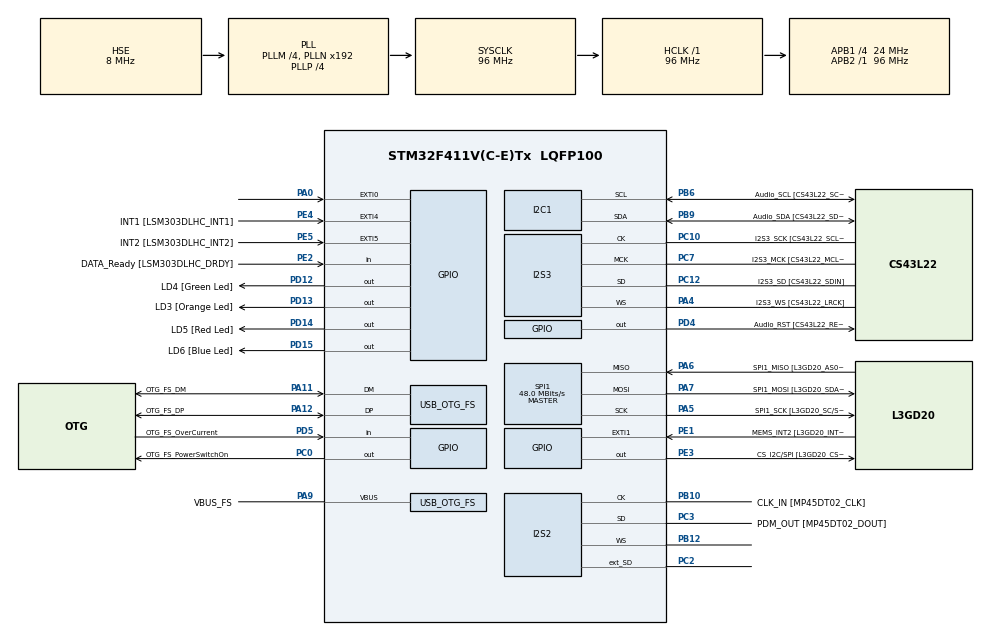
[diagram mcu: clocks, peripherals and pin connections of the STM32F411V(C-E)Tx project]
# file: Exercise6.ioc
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FREERTOS.Tasks01=RedLEDTask,1,128,StartRedLEDask,Default,NULL,Dynamic,NULL,NULL;GreenLED,0,128,StartGreenLEDTask,Default,NULL,Dynamic,NULL,NULL
I2S2.AudioFreq=I2S_AUDIOFREQ_96K
I2S2.ErrorAudioFreq=0.15 %
I2S2.FullDuplexMode=I2S_FULLDUPLEXMODE_ENABLE
I2S2.Instance=SPI$Index
I2S2.RealAudioFreq=96.153 KHz
I2S2.VirtualMode=I2S_MODE_MASTER
I2S3.AudioFreq=I2S_AUDIOFREQ_96K
I2S3.ErrorAudioFreq=-6.99 %
I2S3.FullDuplexMode=I2S_FULLDUPLEXMODE_DISABLE
I2S3.Instance=SPI$Index
I2S3.RealAudioFreq=89.285 KHz
I2S3.VirtualMode=I2S_MODE_MASTER
Mcu.Family=STM32F4
Mcu.Name=STM32F411V(C-E)Tx
Mcu.Package=LQFP100
NVIC.OTG_FS_IRQn=true\:5\:0\:false\:false\:true\:true\:true\:true
NVIC.PriorityGroup=NVIC_PRIORITYGROUP_4
NVIC.TIM1_UP_TIM10_IRQn=true\:0\:0\:false\:false\:true\:false\:false\:true
NVIC.TimeBase=TIM1_UP_TIM10_IRQn
NVIC.TimeBaseIP=TIM1
PA0-WKUP.GPIO_ModeDefaultEXTI=GPIO_MODE_EVT_RISING
PA0-WKUP.Signal=GPXTI0
PA10.GPIO_Label=OTG_FS_ID
PA10.Signal=USB_OTG_FS_ID
PA11.GPIO_Label=OTG_FS_DM
PA11.Mode=Host_Only
PA11.Signal=USB_OTG_FS_DM
PA12.GPIO_Label=OTG_FS_DP
PA12.Mode=Host_Only
PA12.Signal=USB_OTG_FS_DP
PA13.GPIO_Label=SWDIO
PA13.Mode=Serial_Wire
PA13.Signal=SYS_JTMS-SWDIO
PA14.GPIO_Label=SWCLK
PA14.Mode=Serial_Wire
PA14.Signal=SYS_JTCK-SWCLK
PA4.GPIO_Label=I2S3_WS [CS43L22_LRCK]
PA4.GPIO_Mode=GPIO_MODE_AF_PP
PA4.GPIO_PuPd=GPIO_NOPULL
PA4.GPIO_Speed=GPIO_SPEED_FREQ_LOW
PA4.Mode=Half_Duplex_Master
PA4.Signal=I2S3_WS
PA5.GPIO_Label=SPI1_SCK [L3GD20_SC/SPC]
PA5.Mode=Full_Duplex_Master
PA5.Signal=SPI1_SCK
PA6.GPIO_Label=SPI1_MISO [L3GD20_AS0/SDO]
PA6.Mode=Full_Duplex_Master
PA6.Signal=SPI1_MISO
PA7.GPIO_Label=SPI1_MOSI [L3GD20_SDA/SDI/SDO]
PA7.Mode=Full_Duplex_Master
PA7.Signal=SPI1_MOSI
PA9.GPIO_Label=VBUS_FS
PA9.Mode=Activate_VBUS
PA9.Signal=USB_OTG_FS_VBUS
PB10.GPIO_Label=CLK_IN [MP45DT02_CLK]
PB10.Mode=Full_Duplex_Master
PB10.Signal=I2S2_CK
PB12.Mode=Full_Duplex_Master
PB12.Signal=I2S2_WS
PB3.GPIO_Label=SWO
PB3.Signal=SYS_JTDO-SWO
PB6.GPIO_Label=Audio_SCL [CS43L22_SCL]
PB6.GPIO_Mode=GPIO_MODE_AF_OD
PB6.GPIO_PuPd=GPIO_NOPULL
PB6.GPIO_Speed=GPIO_SPEED_FREQ_LOW
PB6.Mode=I2C
PB6.Signal=I2C1_SCL
PB9.GPIO_Label=Audio_SDA [CS43L22_SDA]
PB9.GPIO_Mode=GPIO_MODE_AF_OD
PB9.GPIO_PuPd=GPIO_NOPULL
PB9.GPIO_Speed=GPIO_SPEED_FREQ_LOW
PB9.Mode=I2C
PB9.Signal=I2C1_SDA
PC0.GPIO_Label=OTG_FS_PowerSwitchOn
PC0.PinState=GPIO_PIN_SET
PC0.Signal=GPIO_Output
PC10.GPIO_Label=I2S3_SCK [CS43L22_SCLK]
PC10.GPIO_Mode=GPIO_MODE_AF_PP
PC10.GPIO_PuPd=GPIO_NOPULL
PC10.GPIO_Speed=GPIO_SPEED_FREQ_LOW
PC10.Mode=Half_Duplex_Master
PC10.Signal=I2S3_CK
PC12.GPIO_Label=I2S3_SD [CS43L22_SDIN]
PC12.GPIO_Mode=GPIO_MODE_AF_PP
PC12.GPIO_PuPd=GPIO_NOPULL
PC12.GPIO_Speed=GPIO_SPEED_FREQ_LOW
PC12.Mode=Half_Duplex_Master
PC12.Signal=I2S3_SD
PC14-OSC32_IN.GPIO_Label=PC14-OSC32_IN
PC14-OSC32_IN.Mode=LSE-External-Oscillator
PC14-OSC32_IN.Signal=RCC_OSC32_IN
PC15-OSC32_OUT.GPIO_Label=PC15-OSC32_OUT
PC15-OSC32_OUT.Mode=LSE-External-Oscillator
PC15-OSC32_OUT.Signal=RCC_OSC32_OUT
PC2.Mode=Full_Duplex_Master
PC2.Signal=I2S2_ext_SD
PC3.GPIO_Label=PDM_OUT [MP45DT02_DOUT]
PC3.Mode=Full_Duplex_Master
PC3.Signal=I2S2_SD
PC7.GPIO_Label=I2S3_MCK [CS43L22_MCLK]
PC7.GPIO_Mode=GPIO_MODE_AF_PP
PC7.GPIO_PuPd=GPIO_NOPULL
PC7.GPIO_Speed=GPIO_SPEED_FREQ_LOW
PC7.Mode=Master_Clock_Activated
PC7.Signal=I2S3_MCK
PD12.GPIO_Label=LD4 [Green Led]
PD12.GPIO_PuPd=GPIO_NOPULL
PD12.GPIO_Speed=GPIO_SPEED_FREQ_LOW
PD12.Signal=GPIO_Output
PD13.GPIO_Label=LD3 [Orange Led]
PD13.GPIO_PuPd=GPIO_NOPULL
PD13.GPIO_Speed=GPIO_SPEED_FREQ_LOW
PD13.Signal=GPIO_Output
PD14.GPIO_Label=LD5 [Red Led]
PD14.GPIO_PuPd=GPIO_NOPULL
PD14.GPIO_Speed=GPIO_SPEED_FREQ_LOW
PD14.Signal=GPIO_Output
PD15.GPIO_Label=LD6 [Blue Led]
PD15.GPIO_PuPd=GPIO_NOPULL
PD15.GPIO_Speed=GPIO_SPEED_FREQ_LOW
PD15.Signal=GPIO_Output
PD4.GPIO_Label=Audio_RST [CS43L22_RESET]
PD4.Signal=GPIO_Output
PD5.GPIO_Label=OTG_FS_OverCurrent
PD5.Signal=GPIO_Input
PE1.GPIO_Label=MEMS_INT2 [L3GD20_INT2]
PE1.GPIO_ModeDefaultEXTI=GPIO_MODE_EVT_RISING
PE1.Signal=GPXTI1
PE2.GPIO_Label=DATA_Ready [LSM303DLHC_DRDY]
PE2.Signal=GPIO_Input
PE3.GPIO_Label=CS_I2C/SPI [L3GD20_CS_I2C/SPI]
PE3.Signal=GPIO_Output
PE4.GPIO_Label=INT1 [LSM303DLHC_INT1]
PE4.GPIO_ModeDefaultEXTI=GPIO_MODE_EVT_RISING
PE4.Signal=GPXTI4
PE5.GPIO_Label=INT2 [LSM303DLHC_INT2]
PE5.GPIO_ModeDefaultEXTI=GPIO_MODE_EVT_RISING
PE5.Signal=GPXTI5
PH0\ -\ OSC_IN.GPIO_Label=PH0-OSC_IN
PH0\ -\ OSC_IN.Mode=HSE-External-Oscillator
PH0\ -\ OSC_IN.Signal=RCC_OSC_IN
PH1\ -\ OSC_OUT.GPIO_Label=PH1-OSC_OUT
PH1\ -\ OSC_OUT.Mode=HSE-External-Oscillator
PH1\ -\ OSC_OUT.Signal=RCC_OSC_OUT
ProjectManager.HeapSize=0x200
ProjectManager.StackSize=0x400
ProjectManager.TargetToolchain=STM32CubeIDE
RCC.48MHZClocksFreq_Value=48000000
RCC.AHBFreq_Value=96000000
RCC.APB1CLKDivider=RCC_HCLK_DIV4
RCC.APB1Freq_Value=24000000
RCC.APB1TimFreq_Value=48000000
RCC.APB2Freq_Value=96000000
RCC.APB2TimFreq_Value=96000000
RCC.CortexFreq_Value=96000000
RCC.HCLKFreq_Value=96000000
RCC.HSE_VALUE=8000000
RCC.HSI_VALUE=16000000
RCC.PLLI2SM=5
RCC.PLLI2SN=200
RCC.PLLM=4
RCC.PLLP=RCC_PLLP_DIV4
RCC.PLLQ=8
RCC.SYSCLKFreq_VALUE=96000000
RCC.SYSCLKSource=RCC_SYSCLKSOURCE_PLLCLK
RCC.VCOOutputFreq_Value=384000000
SPI1.BaudRatePrescaler=SPI_BAUDRATEPRESCALER_2
SPI1.CalculateBaudRate=48.0 MBits/s
SPI1.Direction=SPI_DIRECTION_2LINES
SPI1.Mode=SPI_MODE_MASTER
SPI1.VirtualType=VM_MASTER
USB_OTG_FS.VirtualMode=Host_Only
USB_OTG_FS.phy_itface=HCD_PHY_EMBEDDED
VP_FREERTOS_VS_CMSIS_V1.Mode=CMSIS_V1
VP_SYS_VS_tim1.Mode=TIM1
board=STM32F411E-DISCO

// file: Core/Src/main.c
/* USER CODE BEGIN Header */
/**
  ******************************************************************************
  * @file           : main.c
  * @brief          : Main program body
  ******************************************************************************
  * @attention
  *
  * <h2><center>&copy; Copyright (c) 2024 STMicroelectronics.
  * All rights reserved.</center></h2>
  *
  * This software component is licensed by ST under Ultimate Liberty license
  * SLA0044, the "License"; You may not use this file except in compliance with
  * the License. You may obtain a copy of the License at:
  *                             www.st.com/SLA0044
  *
  ******************************************************************************
  */
/* USER CODE END Header */

#include "main.h"
#include "cmsis_os.h"

I2C_HandleTypeDef hi2c1;

I2S_HandleTypeDef hi2s2;
I2S_HandleTypeDef hi2s3;

SPI_HandleTypeDef hspi1;

HCD_HandleTypeDef hhcd_USB_OTG_FS;

osThreadId RedLEDTaskHandle;
osThreadId GreenLEDHandle;

void SystemClock_Config(void);
static void MX_GPIO_Init(void);
static void MX_I2C1_Init(void);
static void MX_I2S2_Init(void);
static void MX_I2S3_Init(void);
static void MX_SPI1_Init(void);
static void MX_USB_OTG_FS_HCD_Init(void);
void StartRedLEDask(void const * argument);
void StartGreenLEDTask(void const * argument);

int main(void)
{

  /* MCU Configuration--------------------------------------------------------*/

  /* Reset of all peripherals, Initializes the Flash interface and the Systick. */
  HAL_Init();

  /* Configure the system clock */
  SystemClock_Config();

  /* Initialize all configured peripherals */
  MX_GPIO_Init();
  MX_I2C1_Init();
  MX_I2S2_Init();
  MX_I2S3_Init();
  MX_SPI1_Init();
  MX_USB_OTG_FS_HCD_Init();

  /* Create the thread(s) */
  /* definition and creation of RedLEDTask */
  osThreadDef(RedLEDTask, StartRedLEDask, osPriorityAboveNormal, 0, 128);
  RedLEDTaskHandle = osThreadCreate(osThread(RedLEDTask), NULL);

  /* definition and creation of GreenLED */
  osThreadDef(GreenLED, StartGreenLEDTask, osPriorityNormal, 0, 128);
  GreenLEDHandle = osThreadCreate(osThread(GreenLED), NULL);

  /* Start scheduler */
  osKernelStart();

  /* We should never get here as control is now taken by the scheduler */

  /* Infinite loop */
  while (1)
  {

  }
}

void SystemClock_Config(void)
{
  RCC_OscInitTypeDef RCC_OscInitStruct = {0};
  RCC_ClkInitTypeDef RCC_ClkInitStruct = {0};
  RCC_PeriphCLKInitTypeDef PeriphClkInitStruct = {0};

  /** Configure the main internal regulator output voltage
  */
  __HAL_RCC_PWR_CLK_ENABLE();
  __HAL_PWR_VOLTAGESCALING_CONFIG(PWR_REGULATOR_VOLTAGE_SCALE1);
  /** Initializes the CPU, AHB and APB busses clocks
  */
  RCC_OscInitStruct.OscillatorType = RCC_OSCILLATORTYPE_HSE;
  RCC_OscInitStruct.HSEState = RCC_HSE_ON;
  RCC_OscInitStruct.PLL.PLLState = RCC_PLL_ON;
  RCC_OscInitStruct.PLL.PLLSource = RCC_PLLSOURCE_HSE;
  RCC_OscInitStruct.PLL.PLLM = 4;
  RCC_OscInitStruct.PLL.PLLN = 192;
  RCC_OscInitStruct.PLL.PLLP = RCC_PLLP_DIV4;
  RCC_OscInitStruct.PLL.PLLQ = 8;
  if (HAL_RCC_OscConfig(&RCC_OscInitStruct) != HAL_OK)
  {
    Error_Handler();
  }
  /** Initializes the CPU, AHB and APB busses clocks
  */
  RCC_ClkInitStruct.ClockType = RCC_CLOCKTYPE_HCLK|RCC_CLOCKTYPE_SYSCLK
                              |RCC_CLOCKTYPE_PCLK1|RCC_CLOCKTYPE_PCLK2;
  RCC_ClkInitStruct.SYSCLKSource = RCC_SYSCLKSOURCE_PLLCLK;
  RCC_ClkInitStruct.AHBCLKDivider = RCC_SYSCLK_DIV1;
  RCC_ClkInitStruct.APB1CLKDivider = RCC_HCLK_DIV4;
  RCC_ClkInitStruct.APB2CLKDivider = RCC_HCLK_DIV1;

  if (HAL_RCC_ClockConfig(&RCC_ClkInitStruct, FLASH_LATENCY_3) != HAL_OK)
  {
    Error_Handler();
  }
  PeriphClkInitStruct.PeriphClockSelection = RCC_PERIPHCLK_I2S;
  PeriphClkInitStruct.PLLI2S.PLLI2SN = 200;
  PeriphClkInitStruct.PLLI2S.PLLI2SM = 5;
  PeriphClkInitStruct.PLLI2S.PLLI2SR = 2;
  if (HAL_RCCEx_PeriphCLKConfig(&PeriphClkInitStruct) != HAL_OK)
  {
    Error_Handler();
  }
}

static void MX_I2C1_Init(void)
{

  hi2c1.Instance = I2C1;
  hi2c1.Init.ClockSpeed = 100000;
  hi2c1.Init.DutyCycle = I2C_DUTYCYCLE_2;
  hi2c1.Init.OwnAddress1 = 0;
  hi2c1.Init.AddressingMode = I2C_ADDRESSINGMODE_7BIT;
  hi2c1.Init.DualAddressMode = I2C_DUALADDRESS_DISABLE;
  hi2c1.Init.OwnAddress2 = 0;
  hi2c1.Init.GeneralCallMode = I2C_GENERALCALL_DISABLE;
  hi2c1.Init.NoStretchMode = I2C_NOSTRETCH_DISABLE;
  if (HAL_I2C_Init(&hi2c1) != HAL_OK)
  {
    Error_Handler();
  }

}

static void MX_I2S2_Init(void)
{

  hi2s2.Instance = SPI2;
  hi2s2.Init.Mode = I2S_MODE_MASTER_TX;
  hi2s2.Init.Standard = I2S_STANDARD_PHILIPS;
  hi2s2.Init.DataFormat = I2S_DATAFORMAT_16B;
  hi2s2.Init.MCLKOutput = I2S_MCLKOUTPUT_DISABLE;
  hi2s2.Init.AudioFreq = I2S_AUDIOFREQ_96K;
  hi2s2.Init.CPOL = I2S_CPOL_LOW;
  hi2s2.Init.ClockSource = I2S_CLOCK_PLL;
  hi2s2.Init.FullDuplexMode = I2S_FULLDUPLEXMODE_ENABLE;
  if (HAL_I2S_Init(&hi2s2) != HAL_OK)
  {
    Error_Handler();
  }

}

static void MX_I2S3_Init(void)
{

  hi2s3.Instance = SPI3;
  hi2s3.Init.Mode = I2S_MODE_MASTER_TX;
  hi2s3.Init.Standard = I2S_STANDARD_PHILIPS;
  hi2s3.Init.DataFormat = I2S_DATAFORMAT_16B;
  hi2s3.Init.MCLKOutput = I2S_MCLKOUTPUT_ENABLE;
  hi2s3.Init.AudioFreq = I2S_AUDIOFREQ_96K;
  hi2s3.Init.CPOL = I2S_CPOL_LOW;
  hi2s3.Init.ClockSource = I2S_CLOCK_PLL;
  hi2s3.Init.FullDuplexMode = I2S_FULLDUPLEXMODE_DISABLE;
  if (HAL_I2S_Init(&hi2s3) != HAL_OK)
  {
    Error_Handler();
  }

}

static void MX_SPI1_Init(void)
{

  /* SPI1 parameter configuration*/
  hspi1.Instance = SPI1;
  hspi1.Init.Mode = SPI_MODE_MASTER;
  hspi1.Init.Direction = SPI_DIRECTION_2LINES;
  hspi1.Init.DataSize = SPI_DATASIZE_8BIT;
  hspi1.Init.CLKPolarity = SPI_POLARITY_LOW;
  hspi1.Init.CLKPhase = SPI_PHASE_1EDGE;
  hspi1.Init.NSS = SPI_NSS_SOFT;
  hspi1.Init.BaudRatePrescaler = SPI_BAUDRATEPRESCALER_2;
  hspi1.Init.FirstBit = SPI_FIRSTBIT_MSB;
  hspi1.Init.TIMode = SPI_TIMODE_DISABLE;
  hspi1.Init.CRCCalculation = SPI_CRCCALCULATION_DISABLE;
  hspi1.Init.CRCPolynomial = 10;
  if (HAL_SPI_Init(&hspi1) != HAL_OK)
  {
    Error_Handler();
  }

}

static void MX_USB_OTG_FS_HCD_Init(void)
{

  hhcd_USB_OTG_FS.Instance = USB_OTG_FS;
  hhcd_USB_OTG_FS.Init.Host_channels = 8;
  hhcd_USB_OTG_FS.Init.speed = HCD_SPEED_FULL;
  hhcd_USB_OTG_FS.Init.dma_enable = DISABLE;
  hhcd_USB_OTG_FS.Init.phy_itface = HCD_PHY_EMBEDDED;
  hhcd_USB_OTG_FS.Init.Sof_enable = DISABLE;
  if (HAL_HCD_Init(&hhcd_USB_OTG_FS) != HAL_OK)
  {
    Error_Handler();
  }

}

static void MX_GPIO_Init(void)
{
  GPIO_InitTypeDef GPIO_InitStruct = {0};

  /* GPIO Ports Clock Enable */
  __HAL_RCC_GPIOE_CLK_ENABLE();
  __HAL_RCC_GPIOC_CLK_ENABLE();
  __HAL_RCC_GPIOH_CLK_ENABLE();
  __HAL_RCC_GPIOA_CLK_ENABLE();
  __HAL_RCC_GPIOB_CLK_ENABLE();
  __HAL_RCC_GPIOD_CLK_ENABLE();

  /*Configure GPIO pin Output Level */
  HAL_GPIO_WritePin(CS_I2C_SPI_GPIO_Port, CS_I2C_SPI_Pin, GPIO_PIN_RESET);

  /*Configure GPIO pin Output Level */
  HAL_GPIO_WritePin(OTG_FS_PowerSwitchOn_GPIO_Port, OTG_FS_PowerSwitchOn_Pin, GPIO_PIN_SET);

  /*Configure GPIO pin Output Level */
  HAL_GPIO_WritePin(GPIOD, LD4_Pin|LD3_Pin|LD5_Pin|LD6_Pin
                          |Audio_RST_Pin, GPIO_PIN_RESET);

  /*Configure GPIO pin : DATA_Ready_Pin */
  GPIO_InitStruct.Pin = DATA_Ready_Pin;
  GPIO_InitStruct.Mode = GPIO_MODE_INPUT;
  GPIO_InitStruct.Pull = GPIO_NOPULL;
  HAL_GPIO_Init(DATA_Ready_GPIO_Port, &GPIO_InitStruct);

  /*Configure GPIO pin : CS_I2C_SPI_Pin */
  GPIO_InitStruct.Pin = CS_I2C_SPI_Pin;
  GPIO_InitStruct.Mode = GPIO_MODE_OUTPUT_PP;
  GPIO_InitStruct.Pull = GPIO_NOPULL;
  GPIO_InitStruct.Speed = GPIO_SPEED_FREQ_LOW;
  HAL_GPIO_Init(CS_I2C_SPI_GPIO_Port, &GPIO_InitStruct);

  /*Configure GPIO pins : INT1_Pin INT2_Pin MEMS_INT2_Pin */
  GPIO_InitStruct.Pin = INT1_Pin|INT2_Pin|MEMS_INT2_Pin;
  GPIO_InitStruct.Mode = GPIO_MODE_EVT_RISING;
  GPIO_InitStruct.Pull = GPIO_NOPULL;
  HAL_GPIO_Init(GPIOE, &GPIO_InitStruct);

  /*Configure GPIO pin : OTG_FS_PowerSwitchOn_Pin */
  GPIO_InitStruct.Pin = OTG_FS_PowerSwitchOn_Pin;
  GPIO_InitStruct.Mode = GPIO_MODE_OUTPUT_PP;
  GPIO_InitStruct.Pull = GPIO_NOPULL;
  GPIO_InitStruct.Speed = GPIO_SPEED_FREQ_LOW;
  HAL_GPIO_Init(OTG_FS_PowerSwitchOn_GPIO_Port, &GPIO_InitStruct);

  /*Configure GPIO pin : PA0 */
  GPIO_InitStruct.Pin = GPIO_PIN_0;
  GPIO_InitStruct.Mode = GPIO_MODE_EVT_RISING;
  GPIO_InitStruct.Pull = GPIO_NOPULL;
  HAL_GPIO_Init(GPIOA, &GPIO_InitStruct);

  /*Configure GPIO pins : LD4_Pin LD3_Pin LD5_Pin LD6_Pin
                           Audio_RST_Pin */
  GPIO_InitStruct.Pin = LD4_Pin|LD3_Pin|LD5_Pin|LD6_Pin
                          |Audio_RST_Pin;
  GPIO_InitStruct.Mode = GPIO_MODE_OUTPUT_PP;
  GPIO_InitStruct.Pull = GPIO_NOPULL;
  GPIO_InitStruct.Speed = GPIO_SPEED_FREQ_LOW;
  HAL_GPIO_Init(GPIOD, &GPIO_InitStruct);

  /*Configure GPIO pin : OTG_FS_OverCurrent_Pin */
  GPIO_InitStruct.Pin = OTG_FS_OverCurrent_Pin;
  GPIO_InitStruct.Mode = GPIO_MODE_INPUT;
  GPIO_InitStruct.Pull = GPIO_NOPULL;
  HAL_GPIO_Init(OTG_FS_OverCurrent_GPIO_Port, &GPIO_InitStruct);

}

/* USER CODE BEGIN 4 */
int Start_Flag = 1;
void Access_Function()
{
	if (Start_Flag == 1)
	{
		Start_Flag = 0;
	}
	else
	{
		HAL_GPIO_TogglePin(GPIOD, GPIO_PIN_15);
		//HAL_GPIO_WritePin(GPIOD, GPIO_PIN_15,GPIO_PIN_SET);

	}
	for(int i = 0; i < 1000000; ++i);
	Start_Flag = 1;
	return;
}
/* USER CODE END 4 */

void StartRedLEDask(void const * argument)
{
  /* USER CODE BEGIN 5 */
  /* Infinite loop */
  for(;;)
  {
	HAL_GPIO_WritePin(GPIOD, GPIO_PIN_14, GPIO_PIN_SET); // turn on Red LED

	taskENTER_CRITICAL(); //disable interrupts
	Access_Function();
	taskEXIT_CRITICAL(); //enable interrupts

	HAL_GPIO_WritePin(GPIOD, GPIO_PIN_14, GPIO_PIN_RESET); //turn off Red LED
	osDelay(100);// 100 ms Delay
  }
  /* USER CODE END 5 */
}

void StartGreenLEDTask(void const * argument)
{
  /* USER CODE BEGIN StartGreenLEDTask */
  /* Infinite loop */
  for(;;)
  {
	  HAL_GPIO_WritePin(GPIOD, GPIO_PIN_12, GPIO_PIN_SET); // Turn On Green LED

	  taskENTER_CRITICAL(); // disable interrupts
	  Access_Function();
	  taskEXIT_CRITICAL(); //enable interrupts

	  HAL_GPIO_WritePin(GPIOD, GPIO_PIN_12, GPIO_PIN_RESET);//turn off Green LED
	  osDelay(500);// 500 mS delay
  }
  /* USER CODE END StartGreenLEDTask */
}

void HAL_TIM_PeriodElapsedCallback(TIM_HandleTypeDef *htim)
{
  if (htim->Instance == TIM1) {
    HAL_IncTick();
  }
}

void Error_Handler(void)
{
}

/************************ (C) COPYRIGHT STMicroelectronics *****END OF FILE****/
